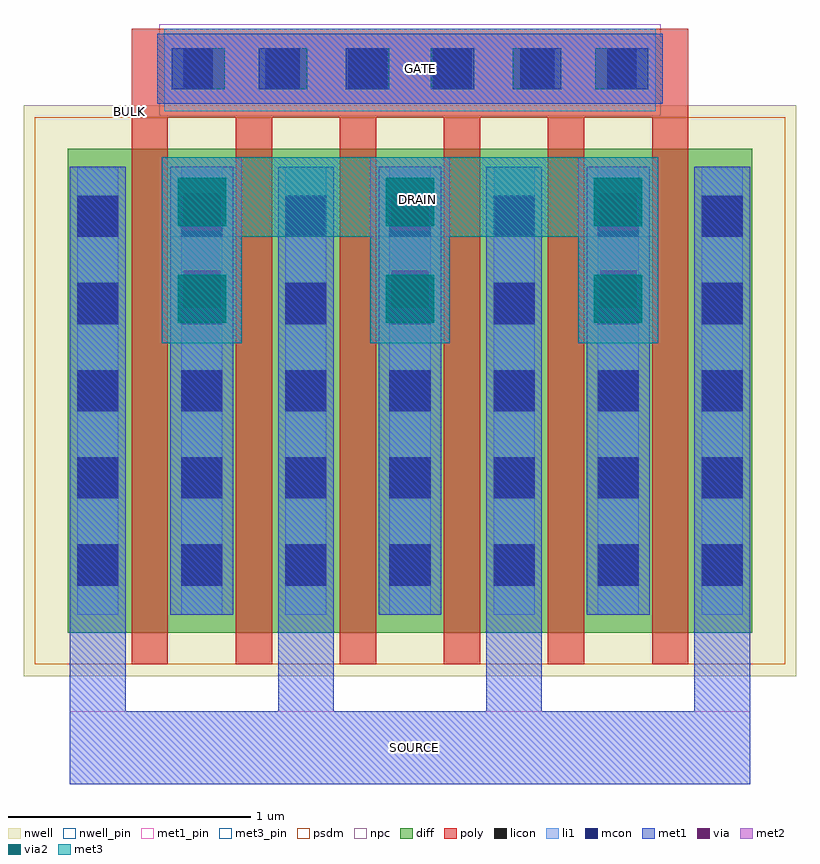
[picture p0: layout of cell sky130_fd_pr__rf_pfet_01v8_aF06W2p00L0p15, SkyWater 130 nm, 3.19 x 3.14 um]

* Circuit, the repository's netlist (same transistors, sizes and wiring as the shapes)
* Copyright 2020 The SkyWater PDK Authors
*
* Licensed under the Apache License, Version 2.0 (the "License");
* you may not use this file except in compliance with the License.
* You may obtain a copy of the License at
*
*     https://www.apache.org/licenses/LICENSE-2.0
*
* Unless required by applicable law or agreed to in writing, software
* distributed under the License is distributed on an "AS IS" BASIS,
* WITHOUT WARRANTIES OR CONDITIONS OF ANY KIND, either express or implied.
* See the License for the specific language governing permissions and
* limitations under the License.
*
* SPDX-License-Identifier: Apache-2.0


.subckt sky130_fd_pr__rf_pfet_01v8_aF06W2p00L0p15 BULK DRAIN GATE SOURCE
X0 SOURCE GATE DRAIN BULK sky130_fd_pr__pfet_01v8 w=2e+06u l=150000u
X1 DRAIN GATE SOURCE BULK sky130_fd_pr__pfet_01v8 w=2e+06u l=150000u
X2 SOURCE GATE DRAIN BULK sky130_fd_pr__pfet_01v8 w=2e+06u l=150000u
X3 DRAIN GATE SOURCE BULK sky130_fd_pr__pfet_01v8 w=2e+06u l=150000u
X4 DRAIN GATE SOURCE BULK sky130_fd_pr__pfet_01v8 w=2e+06u l=150000u
X5 SOURCE GATE DRAIN BULK sky130_fd_pr__pfet_01v8 w=2e+06u l=150000u
.ends

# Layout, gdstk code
import gdstk
lib = gdstk.Library(unit=1e-6, precision=1e-09)
def R(c, l, rs):  # rectangles x0, y0, x1, y1
    for r in rs: c.add(gdstk.rectangle(r[:2], r[2:], *l))
def A(c, l, x, y, w, h, nx, ny, dx, dy):  # array of equal rectangles
    R(c, l, [(x+i*dx, y+j*dy, x+i*dx+w, y+j*dy+h) for i in range(nx) for j in range(ny)])
nwell_pin = (64, 16)
nwell = (64, 20)
diff = (65, 20)
poly = (66, 20)
licon = (66, 44)
li1 = (67, 20)
mcon = (67, 44)
met1_pin = (68, 16)
met1 = (68, 20)
via = (68, 44)
met2 = (69, 20)
via2 = (69, 44)
met3_pin = (70, 16)
met3 = (70, 20)
psdm = (94, 20)
npc = (95, 20)

sky130_fd_pr__rf_pfet_01 = lib.new_cell('sky130_fd_pr__rf_pfet_01v8_aF06W2p00L0p15')
R(sky130_fd_pr__rf_pfet_01, nwell_pin, [(0.425,2.315,0.44,2.355)])
R(sky130_fd_pr__rf_pfet_01, nwell, [(0,0,3.19,2.36)])
A(sky130_fd_pr__rf_pfet_01, diff, 0.445, 0.18, 0.15, 2, 6, 1, 0.43, 0)
A(sky130_fd_pr__rf_pfet_01, diff, 1.025, 0.18, 0.28, 2, 3, 1, 0.43, 0)
R(sky130_fd_pr__rf_pfet_01, diff, [(0.18,0.18,0.445,2.18), (0.21,0.18,0.445,2.18), (0.595,0.18,0.875,2.18), (1.025,0.18,1.305,2.18), (1.055,0.18,1.305,2.18), (1.885,0.18,2.165,2.18), (1.915,0.18,2.165,2.18), (2.315,0.18,2.595,2.18), (2.745,0.18,3.01,2.18), (2.745,0.18,3.01,2.18), (2.775,0.18,3.01,2.18)])
A(sky130_fd_pr__rf_pfet_01, poly, 0.445, 0.05, 0.15, 2.26, 6, 1, 0.43, 0)
A(sky130_fd_pr__rf_pfet_01, poly, 0.445, 0.05, 0.15, 0.13, 6, 2, 0.43, 2.13)
R(sky130_fd_pr__rf_pfet_01, poly, [(0.445,2.31,2.745,2.675), (0.58,2.335,2.61,2.675)])
A(sky130_fd_pr__rf_pfet_01, licon, 0.22, 0.375, 0.17, 0.17, 7, 5, 0.43, 0.36)
A(sky130_fd_pr__rf_pfet_01, licon, 0.66, 2.425, 0.17, 0.17, 6, 1, 0.34, 0)
A(sky130_fd_pr__rf_pfet_01, li1, 0.22, 0.255, 0.17, 1.85, 7, 1, 0.43, 0)
R(sky130_fd_pr__rf_pfet_01, li1, [(0.58,2.335,2.61,2.675), (0.61,2.425,2.58,2.595)])
A(sky130_fd_pr__rf_pfet_01, mcon, 0.22, 0.375, 0.17, 0.17, 7, 5, 0.43, 0.36)
A(sky130_fd_pr__rf_pfet_01, mcon, 0.61, 2.425, 0.17, 0.17, 6, 1, 0.36, 0)
R(sky130_fd_pr__rf_pfet_01, met1_pin, [(0.19,-0.445,3,-0.145), (0.55,2.365,2.64,2.655)])
R(sky130_fd_pr__rf_pfet_01, met1, [(0.55,2.365,2.64,2.655)])
A(sky130_fd_pr__rf_pfet_01, via, 0.66, 1.525, 0.15, 0.15, 3, 2, 0.86, 0.32)
A(sky130_fd_pr__rf_pfet_01, met2, 0.57, 1.375, 0.33, 0.77, 3, 1, 0.86, 0)
A(sky130_fd_pr__rf_pfet_01, met2, 0.605, 1.44, 0.26, 0.64, 3, 1, 0.86, 0)
A(sky130_fd_pr__rf_pfet_01, via2, 0.635, 1.46, 0.2, 0.2, 3, 2, 0.86, 0.4)
R(sky130_fd_pr__rf_pfet_01, met3_pin, [(0.57,1.815,2.62,2.145)])
A(sky130_fd_pr__rf_pfet_01, met3, 0.57, 1.375, 0.33, 0.77, 3, 1, 0.86, 0)
A(sky130_fd_pr__rf_pfet_01, psdm, 0.465, 0.05, 0.54, 2.26, 5, 1, 0.43, 0)
A(sky130_fd_pr__rf_pfet_01, psdm, 0.625, 0.05, 0.4, 2.26, 5, 1, 0.43, 0)
R(sky130_fd_pr__rf_pfet_01, psdm, [(0.045,0.05,0.575,2.31), (0.21,0.05,0.595,2.31), (2.615,0.05,3.145,2.31)])
R(sky130_fd_pr__rf_pfet_01, npc, [(0.56,2.315,2.63,2.695)])
sky130_fd_pr__rf_pfet_01.add(gdstk.FlexPath([(0.57,1.98),(2.62,1.98)], 0.33, ends="flush", simple_path=True, layer=70, datatype=20))  # met3
sky130_fd_pr__rf_pfet_01.add(gdstk.FlexPath([(0.19,-0.295),(3,-0.295)], 0.3, ends="flush", simple_path=True, layer=68, datatype=20))  # met1
sky130_fd_pr__rf_pfet_01.add(gdstk.FlexPath([(2.885,2.105),(2.885,-0.445)], 0.23, ends="flush", simple_path=True, layer=68, datatype=20))  # met1
sky130_fd_pr__rf_pfet_01.add(gdstk.FlexPath([(2.025,2.105),(2.025,-0.445)], 0.23, ends="flush", simple_path=True, layer=68, datatype=20))  # met1
sky130_fd_pr__rf_pfet_01.add(gdstk.FlexPath([(1.165,2.105),(1.165,-0.445)], 0.23, ends="flush", simple_path=True, layer=68, datatype=20))  # met1
sky130_fd_pr__rf_pfet_01.add(gdstk.FlexPath([(2.455,2.105),(2.455,0.255)], 0.26, ends="flush", simple_path=True, layer=68, datatype=20))  # met1
sky130_fd_pr__rf_pfet_01.add(gdstk.FlexPath([(1.595,2.105),(1.595,0.255)], 0.26, ends="flush", simple_path=True, layer=68, datatype=20))  # met1
sky130_fd_pr__rf_pfet_01.add(gdstk.FlexPath([(0.735,2.105),(0.735,0.255)], 0.26, ends="flush", simple_path=True, layer=68, datatype=20))  # met1
sky130_fd_pr__rf_pfet_01.add(gdstk.FlexPath([(0.305,2.105),(0.305,-0.445)], 0.23, ends="flush", simple_path=True, layer=68, datatype=20))  # met1
sky130_fd_pr__rf_pfet_01.add(gdstk.Label('DRAIN', (1.625,1.97), layer=70, texttype=16))
sky130_fd_pr__rf_pfet_01.add(gdstk.Label('GATE', (1.64,2.51), layer=68, texttype=16))
sky130_fd_pr__rf_pfet_01.add(gdstk.Label('SOURCE', (1.615,-0.295), layer=68, texttype=16))
sky130_fd_pr__rf_pfet_01.add(gdstk.Label('BULK', (0.435,2.335), layer=64, texttype=5))

lib.write_gds('sky130_fd_pr__rf_pfet_01v8_aF06W2p00L0p15.gds')
